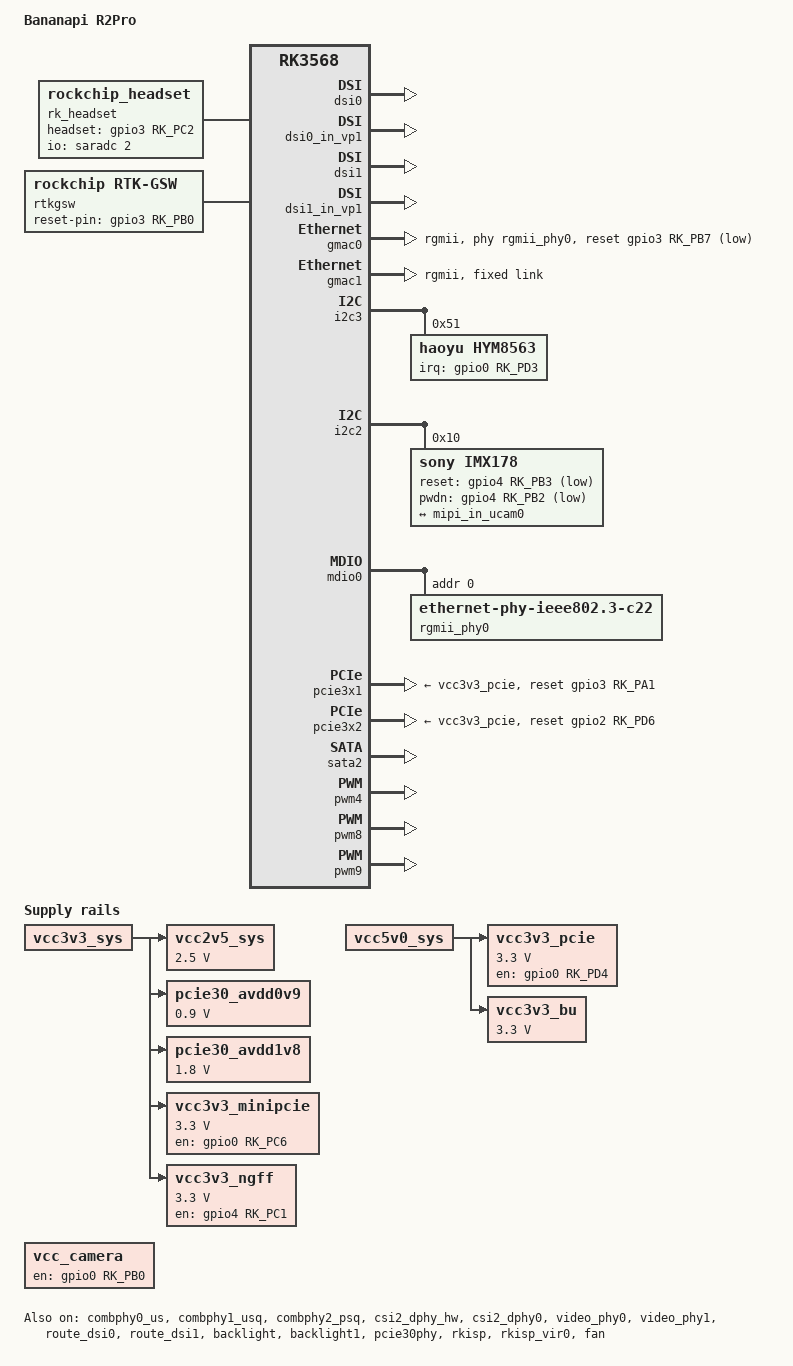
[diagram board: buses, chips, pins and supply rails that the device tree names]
// SPDX-License-Identifier: (GPL-2.0+ OR MIT)
/*
 * Copyright (c) 2020 Rockchip Electronics Co., Ltd.
 *
 */

/dts-v1/;

#include <dt-bindings/gpio/gpio.h>
#include <dt-bindings/pinctrl/rockchip.h>
#include "rk3568.dtsi"
#include "rk3568-bananapi-common.dtsi"
#include "rk3568-android.dtsi"

/ {
	model = "Bananapi R2Pro";
	compatible = "rockchip,rk3568-bananapi-r2pro", "rockchip,rk3568";

	rk_headset: rk-headset {
		compatible = "rockchip_headset";
		headset_gpio = <&gpio3 RK_PC2 GPIO_ACTIVE_HIGH>;
		pinctrl-names = "default";
		pinctrl-0 = <&hp_det>;
		io-channels = <&saradc 2>;
	};

	/* rtl8367rb */
	rtkgsw: rtkgsw@0 {
		compatible = "rockchip,rtk-gsw";
		rockchip,mdio = <&mdio1>;
		rockchip,reset-pin = <&gpio3 RK_PB0 GPIO_ACTIVE_HIGH>;
		status = "okay";
	};

	vcc2v5_sys: vcc2v5-ddr {
		compatible = "regulator-fixed";
		regulator-name = "vcc2v5-sys";
		regulator-always-on;
		regulator-boot-on;
		regulator-min-microvolt = <2500000>;
		regulator-max-microvolt = <2500000>;
		vin-supply = <&vcc3v3_sys>;
	};

	vcc3v3_vga: vcc3v3-vga {
		compatible = "regulator-fixed";
		status = "disabled";
		regulator-name = "vcc3v3_vga";
		regulator-always-on;
		regulator-boot-on;
		gpio = <&gpio0 RK_PD5 GPIO_ACTIVE_HIGH>;
		enable-active-high;
		vin-supply = <&vcc3v3_sys>;
	};

	pcie30_avdd0v9: pcie30-avdd0v9 {
		compatible = "regulator-fixed";
		regulator-name = "pcie30_avdd0v9";
		regulator-always-on;
		regulator-boot-on;
		regulator-min-microvolt = <900000>;
		regulator-max-microvolt = <900000>;
		vin-supply = <&vcc3v3_sys>;
	};

	pcie30_avdd1v8: pcie30-avdd1v8 {
		compatible = "regulator-fixed";
		regulator-name = "pcie30_avdd1v8";
		regulator-always-on;
		regulator-boot-on;
		regulator-min-microvolt = <1800000>;
		regulator-max-microvolt = <1800000>;
		vin-supply = <&vcc3v3_sys>;
	};

	vcc3v3_pcie: vcc3v3-pcie {
		compatible = "regulator-fixed";
		regulator-name = "vcc3v3_pcie";
		regulator-min-microvolt = <3300000>;
		regulator-max-microvolt = <3300000>;
		enable-active-high;
		gpio = <&gpio0 RK_PD4 GPIO_ACTIVE_HIGH>;
		startup-delay-us = <20000>;
		vin-supply = <&vcc5v0_sys>;
	};

	vcc3v3_minipcie: vcc3v3-minipcie {
		compatible = "regulator-fixed";
		regulator-name = "vcc3v3_minipcie";
		regulator-min-microvolt = <3300000>;
		regulator-max-microvolt = <3300000>;
		regulator-always-on;
		regulator-boot-on;
		enable-active-high;
		gpio = <&gpio0 RK_PC6 GPIO_ACTIVE_HIGH>;
		//startup-delay-us = <5000>;
		vin-supply = <&vcc3v3_sys>;
	};

	vcc3v3_ngff: vcc3v3-ngff {
		compatible = "regulator-fixed";
		regulator-name = "vcc3v3_ngff";
		regulator-min-microvolt = <3300000>;
		regulator-max-microvolt = <3300000>;
		regulator-always-on;
		regulator-boot-on;
		enable-active-high;
		gpio = <&gpio4 RK_PC1 GPIO_ACTIVE_HIGH>;
		//startup-delay-us = <5000>;
		vin-supply = <&vcc3v3_sys>;
	};

	vcc3v3_bu: vcc3v3-bu {
		compatible = "regulator-fixed";
		regulator-name = "vcc3v3_bu";
		regulator-always-on;
		regulator-boot-on;
		regulator-min-microvolt = <3300000>;
		regulator-max-microvolt = <3300000>;
		vin-supply = <&vcc5v0_sys>;
	};

	vcc_camera: vcc-camera-regulator {
		compatible = "regulator-fixed";
		status = "okay";
		gpio = <&gpio0 RK_PB0 GPIO_ACTIVE_HIGH>;
		pinctrl-names = "default";
		pinctrl-0 = <&camera_pwr>;
		regulator-name = "vcc_camera";
		enable-active-high;
		regulator-always-on;
		regulator-boot-on;
	};
};

&combphy0_us {
	status = "okay";
};

&combphy1_usq {
	status = "okay";
};

&combphy2_psq {
	status = "okay";
};

&csi2_dphy_hw {
	status = "okay";
};

&csi2_dphy0 {
	status = "okay";

	ports {
		#address-cells = <1>;
		#size-cells = <0>;
		port@0 {
			reg = <0>;
			#address-cells = <1>;
			#size-cells = <0>;

			mipi_in_ucam0: endpoint@1 {
				reg = <1>;
				remote-endpoint = <&imx178_out>;
				data-lanes = <1 2 3 4>;
			};
		};
		port@1 {
			reg = <1>;
			#address-cells = <1>;
			#size-cells = <0>;

			csidphy_out: endpoint@0 {
				reg = <0>;
				remote-endpoint = <&isp0_in>;
			};
		};
	};
};

&video_phy0 {
        status = "okay";
};

&video_phy1 {
        status = "okay";
};

&route_dsi0 {
        status = "okay";
        connect = <&vp1_out_dsi0>;
};

&route_dsi1 {
        status = "okay";
        connect = <&vp1_out_dsi1>;
};

/*
 * video_phy0 needs to be enabled
 * when dsi0 is enabled
 */
&dsi0 {
	status = "okay";
};

&dsi0_in_vp0 {
	status = "disabled";
};

&dsi0_in_vp1 {
	status = "okay";
};

&dsi0_panel {
	power-supply = <&vcc3v3_lcd0_n>;
	//reset-gpios = <&gpio0 RK_PB7 GPIO_ACTIVE_LOW>;
};

&backlight {
	status = "okay";
};

/*
 * video_phy1 needs to be enabled
 * when dsi1 is enabled
 */
&dsi1 {
	status = "okay";
};

&dsi1_in_vp0 {
	status = "disabled";
};

&dsi1_in_vp1 {
	status = "okay";
};

&dsi1_panel {
	power-supply = <&vcc3v3_lcd0_n>;
};

&backlight1 {
	status = "okay";
};

&edp {
	hpd-gpios = <&gpio0 RK_PC2 GPIO_ACTIVE_HIGH>;
	status = "disabled";
};

&edp_phy {
	status = "disabled";
};

&edp_in_vp0 {
	status = "disabled";
};

&edp_in_vp1 {
	status = "disabled";
};

&gmac0 {
	phy-mode = "rgmii";
	clock_in_out = "output";

	snps,reset-gpio = <&gpio3 RK_PB7 GPIO_ACTIVE_LOW>;
	snps,reset-active-low;
	/* Reset time is 20ms, 100ms for rtl8211f */
	snps,reset-delays-us = <0 20000 100000>;

	assigned-clocks = <&cru SCLK_GMAC0_RX_TX>, <&cru SCLK_GMAC0>;
	assigned-clock-parents = <&cru SCLK_GMAC0_RGMII_SPEED>, <&cru CLK_MAC0_2TOP>;
	assigned-clock-rates = <0>, <125000000>;

	pinctrl-names = "default";
	pinctrl-0 = <&gmac0_miim
		     &gmac0_tx_bus2
		     &gmac0_rx_bus2
		     &gmac0_rgmii_clk
		     &gmac0_rgmii_bus>;

	tx_delay = <0x3c>;
	rx_delay = <0x2f>;

	phy-handle = <&rgmii_phy0>;
	status = "okay";
};

&gmac1 {
	phy-mode = "rgmii";
	clock_in_out = "output";

	snps,reset-gpio;
	snps,reset-active-low;
	/* Reset time is 20ms, 100ms for rtl8211f */
	snps,reset-delays-us = <0 20000 100000>;

	assigned-clocks = <&cru SCLK_GMAC1_RX_TX>, <&cru SCLK_GMAC1>;
	assigned-clock-parents = <&cru SCLK_GMAC1_RGMII_SPEED>, <&cru CLK_MAC1_2TOP>;
	assigned-clock-rates = <0>, <125000000>;

	pinctrl-names = "default";
	pinctrl-0 = <&gmac1m1_miim
		     &gmac1m1_tx_bus2
		     &gmac1m1_rx_bus2
		     &gmac1m1_rgmii_clk
		     &gmac1m1_rgmii_bus>;

	tx_delay = <0x4f>;
	rx_delay = <0x26>;

	/* comment for rtl8367rb
	phy-handle = <&rgmii_phy1>;*/
	status = "okay";

	fixed-link {
		speed = <1000>;
		full-duplex;
		pause;
	};
};


&i2c3 {
	status = "okay";
	hym8563: hym8563@51 {
		compatible = "haoyu,hym8563";
		reg = <0x51>;

		pinctrl-names = "default";
		pinctrl-0 = <&rtc_int>;

		interrupt-parent = <&gpio0>;
		interrupts = <RK_PD3 IRQ_TYPE_LEVEL_LOW>;
        };
};

&i2c2 {
	pinctrl-names = "default";
	pinctrl-0 = <&i2c2m1_xfer>;
	status = "okay";

	imx178: imx178@10 {
		compatible = "sony,imx178";
		status = "okay";
		reg = <0x10>;
		clocks = <&cru CLK_CIF_OUT>;
		clock-names = "xvclk";
		power-domains = <&power RK3568_PD_VI>;
		pinctrl-names = "default";
		pinctrl-0 = <&cif_clk>;
		reset-gpios = <&gpio4 RK_PB3 GPIO_ACTIVE_LOW>;
		pwdn-gpios = <&gpio4 RK_PB2 GPIO_ACTIVE_LOW>;
		rockchip,camera-module-index = <0>;
		rockchip,camera-module-facing = "back";
		rockchip,camera-module-name = "HDF178-HZL";
		rockchip,camera-module-lens-name = "default";
		port {
			imx178_out: endpoint {
				remote-endpoint = <&mipi_in_ucam0>;
				data-lanes = <1 2 3 4>;
			};
		};
	};
};

&mdio0 {
	rgmii_phy0: phy@0 {
		compatible = "ethernet-phy-ieee802.3-c22";
		reg = <0x0>;
	};
};

/* comment for rtl8367rb
&mdio1 {
	rgmii_phy1: phy@0 {
		compatible = "ethernet-phy-ieee802.3-c22";
		reg = <0x0>;
	};
};*/

&pcie30phy {
	status = "okay";
};

&pcie3x1 {
	rockchip,bifurcation;
	reset-gpios = <&gpio3 RK_PA1 GPIO_ACTIVE_HIGH>;
	vpcie3v3-supply = <&vcc3v3_pcie>;
	//ngff3v3-supply = <&vcc3v3_ngff>;
	status = "okay";
};

&pcie3x2 {
	rockchip,bifurcation;
	reset-gpios = <&gpio2 RK_PD6 GPIO_ACTIVE_HIGH>;
	vpcie3v3-supply = <&vcc3v3_pcie>;
	//minipcie3v3-supply = <&vcc3v3_minipcie>;
	status = "okay";
};

&pinctrl {
	cam {
		camera_pwr: camera-pwr {
			rockchip,pins = <0 RK_PB0 RK_FUNC_GPIO &pcfg_pull_none>;
		};
	};

	headphone {
		hp_det: hp-det {
			rockchip,pins = <3 RK_PC2 RK_FUNC_GPIO &pcfg_pull_up>;
		};
	};

	rtc {
		rtc_int: rtc-int {
			rockchip,pins = <0 RK_PD3 RK_FUNC_GPIO &pcfg_pull_up>;
		};
	};
};

&rkisp {
	status = "okay";
};

&rkisp_mmu {
	status = "okay";
};

&rkisp_vir0 {
	status = "okay";

	port {
		#address-cells = <1>;
		#size-cells = <0>;

		isp0_in: endpoint@0 {
			reg = <0>;
			remote-endpoint = <&csidphy_out>;
		};
	};
};

&sata2 {
	status = "okay";
};

&sdmmc2 {
	max-frequency = <150000000>;
	supports-sdio;
	bus-width = <4>;
	disable-wp;
	cap-sd-highspeed;
	cap-sdio-irq;
	keep-power-in-suspend;
	mmc-pwrseq = <&sdio_pwrseq>;
	non-removable;
	pinctrl-names = "default";
	pinctrl-0 = <&sdmmc2m0_bus4 &sdmmc2m0_cmd &sdmmc2m0_clk>;
	sd-uhs-sdr104;
	status = "disabled";
};

&spdif_8ch {
	status = "disabled";
	pinctrl-names = "default";
	pinctrl-0 = <&spdifm1_tx>;
};

&uart8 {
	status = "disabled";
	pinctrl-names = "default";
	pinctrl-0 = <&uart8m0_xfer &uart8m0_ctsn>;
};

&vcc3v3_lcd0_n {
	status = "okay";
	gpio = <&gpio0 RK_PC5 GPIO_ACTIVE_HIGH>;
	enable-active-high;
};

&vcc3v3_lcd1_n {
	status = "disabled";
	gpio = <&gpio0 RK_PC5 GPIO_ACTIVE_HIGH>;
	enable-active-high;
};

&sdio_pwrseq {
	status = "disabled";
};

&wireless_wlan {
	wifi_chip_type = "ap6275s";
	status = "disabled";
};

&wireless_bluetooth {
	//BT,wake_gpio     = <&gpio3 RK_PB5 GPIO_ACTIVE_HIGH>;
        //BT,wake_host_irq = <&gpio2 RK_PD7 GPIO_ACTIVE_HIGH>;
	status = "disabled";
};

&adc_keys {
	status = "okay";

	home-key {
		label = "back";
		linux,code = <KEY_BACK>;
		press-threshold-microvolt = <9>;
	};
};

/* backlight for panel0 */
&pwm4 {
	status = "okay";
};

&pwm8 {
	status = "okay";
};

/* backlight for panel1 */
&pwm9 {
	status = "okay";
};

&fan {
	status = "okay";
};

/* rtl8367rb io 3v3 */
&pmu_io_domains {
        vccio6-supply = <&vcc_3v3>;
};
